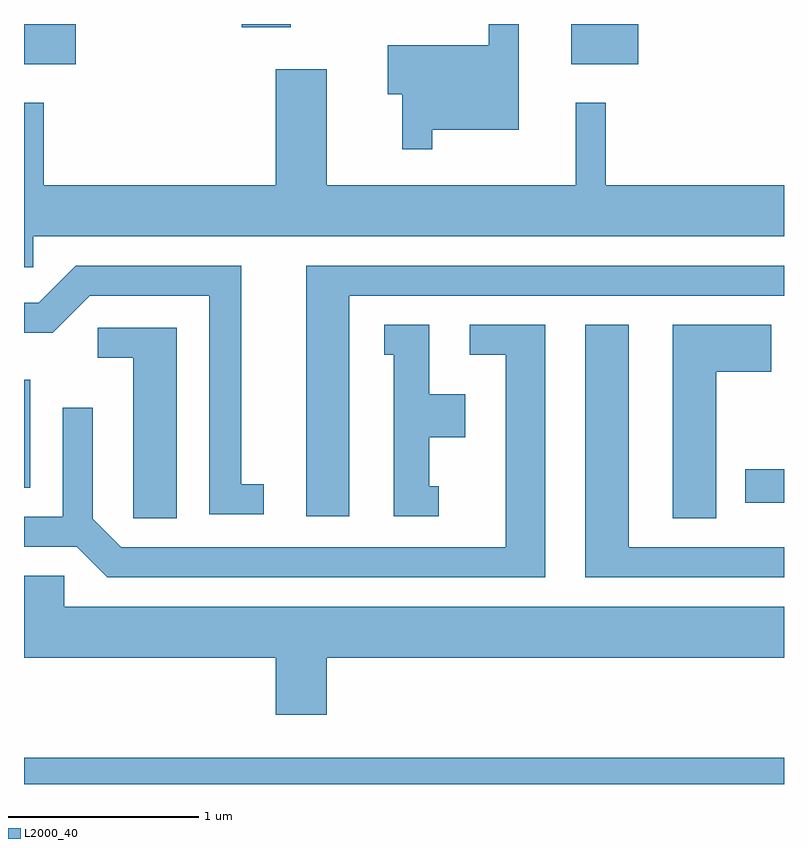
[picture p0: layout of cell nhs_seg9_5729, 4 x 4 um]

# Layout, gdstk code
import gdstk
lib = gdstk.Library(unit=1e-6, precision=1e-09)
def R(c, l, rs):  # rectangles x0, y0, x1, y1
    for r in rs: c.add(gdstk.rectangle(r[:2], r[2:], *l))
def P(c, l, *ps):  # polygons
    for p in ps: c.add(gdstk.Polygon(p, *l))
L2000_40 = (2000, 40)

nhs_seg9_5729 = lib.new_cell('nhs_seg9_5729')
R(nhs_seg9_5729, L2000_40, [(353.611,2044.432,357.611,2044.569), (357.406,2045.911,357.611,2046.089), (353.611,2045.991,353.644,2046.559), (353.611,2048.221,353.884,2048.432), (356.491,2048.221,356.844,2048.432), (354.756,2048.416,355.014,2048.432)])
P(nhs_seg9_5729, L2000_40, [(355.759,2047.876),(356.214,2047.876),(356.214,2048.432),(356.056,2048.432),(356.056,2048.319),(355.526,2048.319),(355.526,2048.061),(355.601,2048.061),(355.601,2047.773),(355.759,2047.773)],
  [(353.659,2047.316),(357.611,2047.316),(357.611,2047.584),(356.674,2047.584),(356.674,2048.018),(356.516,2048.018),(356.516,2047.584),(355.204,2047.584),(355.204,2048.194),(354.936,2048.194),(354.936,2047.584),(353.714,2047.584),(353.714,2048.018),(353.611,2048.018),(353.611,2047.151),(353.659,2047.151)],
  [(355.324,2047.001),(357.611,2047.001),(357.611,2047.159),(355.096,2047.159),(355.096,2045.841),(355.324,2045.841)],
  [(354.873,2046.009),(354.754,2046.009),(354.754,2047.159),(353.884,2047.159),(353.689,2046.964),(353.611,2046.964),(353.611,2046.806),(353.762,2046.806),(353.957,2047.001),(354.586,2047.001),(354.586,2045.851),(354.873,2045.851)],
  [(356.354,2046.849),(355.958,2046.849),(355.958,2046.691),(356.146,2046.691),(356.146,2045.679),(354.122,2045.679),(353.974,2045.827),(353.974,2046.413),(353.816,2046.413),(353.816,2045.839),(353.611,2045.839),(353.611,2045.681),(353.889,2045.681),(354.049,2045.521),(356.354,2045.521)],
  [(357.611,2045.679),(356.794,2045.679),(356.794,2046.849),(356.566,2046.849),(356.566,2045.521),(357.611,2045.521)],
  [(357.254,2046.601),(357.544,2046.601),(357.544,2046.849),(357.026,2046.849),(357.026,2045.831),(357.254,2045.831)],
  [(355.793,2045.999),(355.744,2045.999),(355.744,2046.256),(355.934,2046.256),(355.934,2046.484),(355.744,2046.484),(355.744,2046.849),(355.508,2046.849),(355.508,2046.691),(355.556,2046.691),(355.556,2045.841),(355.793,2045.841)],
  [(354.414,2046.834),(353.998,2046.834),(353.998,2046.676),(354.186,2046.676),(354.186,2045.831),(354.414,2045.831)],
  [(355.204,2045.096),(357.611,2045.096),(357.611,2045.364),(353.824,2045.364),(353.824,2045.529),(353.611,2045.529),(353.611,2045.096),(354.936,2045.096),(354.936,2044.796),(355.204,2044.796)])

lib.write_gds('nhs_seg9_5729.gds')
